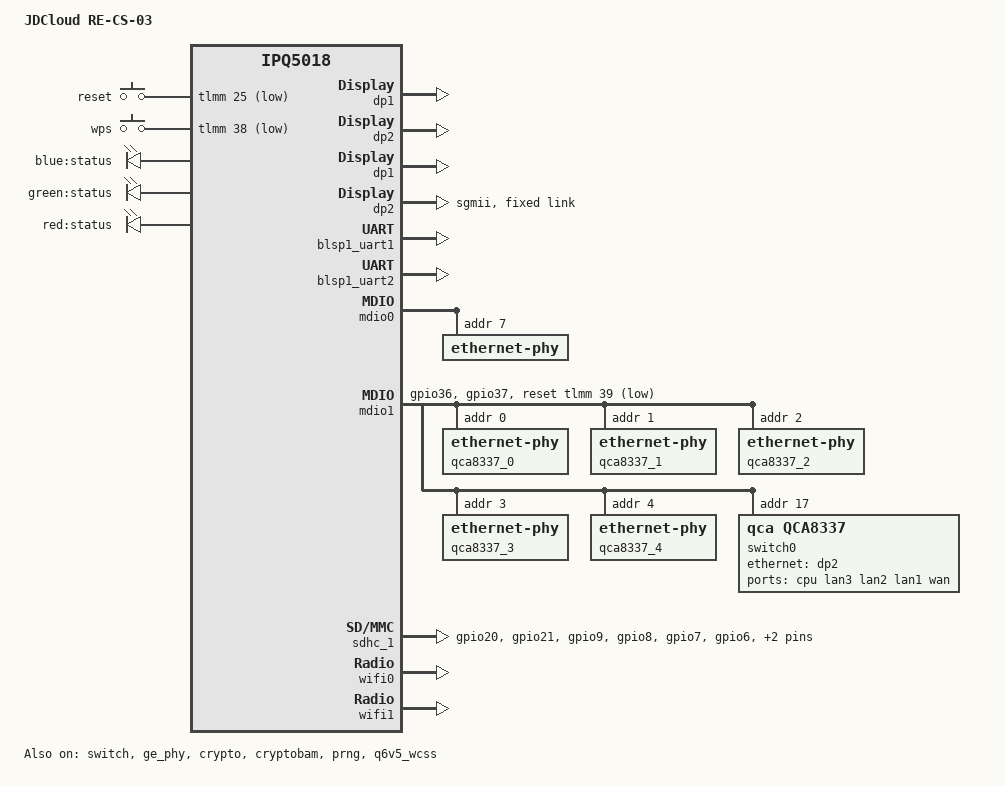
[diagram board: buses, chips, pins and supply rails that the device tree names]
// SPDX-License-Identifier: GPL-2.0-or-later OR MIT

/dts-v1/;

#include "ipq5018.dtsi"
#include "ipq5018-ess.dtsi"

#include <dt-bindings/gpio/gpio.h>
#include <dt-bindings/input/input.h>
#include <dt-bindings/leds/common.h>

/ {
	model = "JDCloud RE-CS-03";
	compatible = "jdcloud,re-cs-03", "qcom,ipq5018";

	interrupt-parent = <&intc>;

	aliases {
		sdhc1 = &sdhc_1;
		serial0 = &blsp1_uart1;
		serial1 = &blsp1_uart2;

		ethernet0 = &dp1;
		ethernet1 = &dp2;
		label-mac-device = &dp2;

		led-boot = &led_status_blue;
		led-failsafe = &led_status_red;
		led-running = &led_status_green;
		led-upgrade = &led_status_red;
	};

	chosen {
		stdout-path = "serial0:115200n8";
	};

	reserved-memory {
		#address-cells = <0x02>;
		#size-cells = <0x02>;
		ranges;

		nss_regions: nss@40000000 {
			no-map;
			reg = <0x00 0x40000000 0x00 0x800000>;
		};

		tz_appps@4a400000 {
			no-map;
			reg = <0x0 0x4a400000 0x0 0x400000>;
		};

		q6_mem_regions: q6_mem_regions@4b000000 {
			no-map;
			reg = <0x0 0x4b000000 0x0 0x3000000>;
		};

		q6_code_data_regions: q6_code_data@4E400000 {
			no-map;
			reg = <0x00 0x4E400000 0x00 0x1400000>;
		};

		q6_ipq5018_data_regions: q6_ipq5018_data@4F800000 {
			no-map;
			reg = <0x00 0x4F800000 0x00 0xd00000>;
		};

		m3_dump_regions: m3_dump@50500000 {
			no-map;
			reg = <0x00 0x50500000 0x00 0x100000>;
		};

		q6_etr_dump_regions: q6_etr_dump@50600000 {
			no-map;
			reg = <0x00 0x50600000 0x00 0x100000>;
		};

		q6_caldb_region: q6_caldb_region@50700000 {
			no-map;
			reg = <0x0 0x50700000 0x0 0x200000>;
		};

		q6_qcn6122_data1_regions: q6_qcn6122_data1@50900000 {
			no-map;
			reg = <0x00 0x50900000 0x00 0xf00000>;
		};

		m3_dump_qcn6122_1_regions: m3_dump_qcn6122_1@51800000 {
			no-map;
			reg = <0x00 0x51800000 0x00 0x100000>;
		};

		q6_qcn6122_etr_1_regions: q6_qcn6122_etr_1@51900000 {
			no-map;
			reg = <0x00 0x51900000 0x00 0x100000>;
		};

		q6_qcn6122_caldb_1_regions: q6_qcn6122_caldb_1@51A00000 {
			no-map;
			reg = <0x0 0x51A00000 0x0 0x500000>;
		};
	};

	soc {
		ess-instance {
			num_devices = <0x2>;

			ess-switch@0x39c00000 {
				compatible = "qcom,ess-switch-ipq50xx";
				reg = <0x39c00000 0x200000>;
				switch_access_mode = "local bus";
				device_id = <0>;
				switch_mac_mode = <MAC_MODE_SGMII_PLUS>;
				cmnblk_clk = "internal_96MHz";

				qcom,port_phyinfo {
					port@0 {
						port_id = <1>;
						phy_address = <7>;
					};
					port@1 {
						port_id = <2>;
						forced-speed = <1000>;
						forced-duplex = <1>;
					};
				};
			};

			ess-switch1@1 {
				compatible = "qcom,ess-switch-qca83xx";
				device_id = <1>;
				switch_access_mode = "mdio";
				mdio-bus = <&mdio1>;
				reset_gpio = <&tlmm 39 GPIO_ACTIVE_LOW>;
				switch_cpu_bmp = <0x40>;
				switch_lan_bmp = <0x1e>;
				switch_wan_bmp = <0x00>;
				qca,ar8327-initvals = <0x04 0x7600000 0x08 0x1000000 0x0c 0x80 0x10 0x2613a0 0xe4 0xaa545 0xe0 0xc74164de 0x7c 0x4e 0x94 0x4e>;

				qcom,port_phyinfo {
					port@0 {
						port_id = <1>;
						phy_address = <0>;
					};
					port@1 {
						port_id = <2>;
						phy_address = <1>;
					};
					port@2 {
						port_id = <3>;
						phy_address = <2>;
					};
					port@3 {
						port_id = <4>;
						phy_address = <3>;
					};
				};
			};
		};

		dp1 {
			status = "okay";
		};

		dp2 {
			status = "okay";
		};
	};

	keys {
		compatible = "gpio-keys";

		reset {
			label = "reset";
			linux,code = <KEY_RESTART>;
			gpios = <&tlmm 25 GPIO_ACTIVE_LOW>;
			linux,input-type = <1>;
			debounce-interval = <60>;
		};

		wps {
			label = "wps";
			linux,code = <KEY_WPS_BUTTON>;
			gpios = <&tlmm 38 GPIO_ACTIVE_LOW>;
			linux,input-type = <1>;
			debounce-interval = <60>;
		};
	};

	leds {
		compatible = "gpio-leds";
		pinctrl-0 = <&leds_pins>;
		pinctrl-names = "default";

		led_status_blue: status-blue {
			label = "blue:status";
			gpio = <&tlmm 31 GPIO_ACTIVE_HIGH>;
		};

		led_status_green: status-green {
			label = "green:status";
			gpio = <&tlmm 32 GPIO_ACTIVE_HIGH>;
		};

		led_status_red: status-red {
			label = "red:status";
			gpio = <&tlmm 33 GPIO_ACTIVE_HIGH>;
		};
	};
};

&switch {
	status = "okay";
	switch_mac_mode = <MAC_MODE_SGMII_PLUS>;
	qcom,port_phyinfo {
		// MAC0 -> GE Phy -> QCA8337 Phy2
		port@0 {
			port_id = <1>;
			mdiobus = <&mdio0>;
			phy_address = <7>;
			phy_dac = <0x10 0x10>;
			// status = "disabled";
		};
		// MAC1 ---SGMII---> QCA8337 SerDes
		port@1 {
			port_id = <2>;
			forced-speed = <1000>;
			forced-duplex = <1>;
		};
	};
};

// MAC0 -> GE Phy
&dp1 {
	status = "okay";
};

// MAC1 ---SGMII---> QCA8337 SerDes
&dp2 {
	status = "okay";
	phy-mode = "sgmii";
	fixed-link {
		speed = <1000>;
		full-duplex;
	};
};

// IPQ5018 GE Phy -> QCA8337 Phy1
&ge_phy {
	status = "okay";
};

&blsp1_uart1 {
	status = "okay";
};

&blsp1_uart2 {
	status = "okay";
};

&crypto {
	status = "okay";
};

&cryptobam {
	status = "okay";
};

&prng {
	status = "okay";
};

&mdio0 {
	status = "okay";

	ethernet-phy@0 {
		reg = <7>;
	};
};

&mdio1 {
	status = "okay";
	pinctrl-0 = <&mdio1_pins>;
	pinctrl-names = "default";
	reset-gpios = <&tlmm 39 GPIO_ACTIVE_LOW>;
	// QCA8337 Phy0 -> LAN3
	qca8337_0: ethernet-phy@0 {
		reg = <0>;
	};
	// QCA8337 Phy1 -> LAN2
	qca8337_1: ethernet-phy@1 {
		reg = <1>;
	};
	// QCA8337 Phy3 -> LAN1
	qca8337_2: ethernet-phy@2 {
		reg = <2>;
	};
	// QCA8337 Phy2 -> IPQ5018 GE Phy
	qca8337_3: ethernet-phy@3 {
		reg = <3>;
	};
	// QCA8337 Phy2 -> IPQ5018 GE Phy
	qca8337_4: ethernet-phy@4 {
		reg = <4>;
	};

	// QCA8337 switch
	switch0: ethernet-switch@17 {
		compatible = "qca,qca8337";
		reg = <17>;
		#address-cells = <1>;
		#size-cells = <0>;
		switch_cpu_bmp = <0x40>;  /* cpu port bitmap */
		switch_lan_bmp = <0x1e>; /* lan port bitmap */
		switch_wan_bmp = <0x0>;  /* wan port bitmap */
		ports {
			#address-cells = <1>;
			#size-cells = <0>;

			switch0cpu: port@0 {
				reg = <0>;
				label = "cpu";
				phy-mode = "sgmii";
				ethernet = <&dp2>;
				qca,sgmii-enable-pll;
				fixed-link {
					speed = <1000>;
					full-duplex;
				};
			};
			// QCA8337 Phy1 -> LAN3
			port@1 {
				reg = <1>;
				label = "lan3";
				phy-handle = <&qca8337_0>;
				port_id = <1>;
				phy_address = <0>;
			};

			// QCA8337 Phy2 -> LAN2
			port@2 {
				reg = <2>;
				label = "lan2";
				phy-handle = <&qca8337_1>;
				port_id = <2>;
				phy_address = <1>;
			};
			
			// QCA8337 Phy3 -> LAN1
			port@3 {
				reg = <3>;
				label = "lan1";
				phy-handle = <&qca8337_2>;
				port_id = <3>;
				phy_address = <2>;

			};

			// QCA8337 Phy4 -> WAN
			port@4 {
				reg = <4>;
				label = "wan";
				phy-handle = <&qca8337_3>;
				port_id = <4>;
				phy_address = <3>;

			};
		};
	};
};

&q6v5_wcss {
	status = "okay";

	compatible = "qcom,ipq5018-q6-mpd";
	firmware = "IPQ5018/q6_fw.mdt";

	reg = <0x0cd00000 0x4040>, <0x1938000 0x8>, <0x193d204 0x4>;
	reg-names = "qdsp6", "tcsr-msip", "tcsr-q6";
	resets = <&gcc GCC_WCSSAON_RESET>, <&gcc GCC_WCSS_Q6_BCR>;
	reset-names = "wcss_aon_reset", "wcss_q6_reset";
	clocks = <&gcc GCC_Q6_AXIS_CLK>, <&gcc GCC_WCSS_ECAHB_CLK>, <&gcc GCC_Q6_AXIM_CLK>, <&gcc GCC_Q6_AXIM2_CLK>, <&gcc GCC_Q6_AHB_CLK>, <&gcc GCC_Q6_AHB_S_CLK>, <&gcc GCC_WCSS_AXI_S_CLK>;
	clock-names = "gcc_q6_axis_clk", "gcc_wcss_ecahb_clk", "gcc_q6_axim_clk", "gcc_q6_axim2_clk", "gcc_q6_ahb_clk", "gcc_q6_ahb_s_clk", "gcc_wcss_axi_s_clk";
	qcom,rproc = <&q6v5_wcss>;
	qcom,bootargs_smem = <507>;
	memory-region = <&q6_mem_regions>, <&q6_etr_dump_regions>, <&q6_caldb_region>;
	boot-args = <0x02 0x04 0x02 0x0f 0x00 0x00>;

	//	boot-args =
//			</*       type: */ 0x1 /* PCIE0 */
//		     /*     length: */ 4
//		     /*      PD id: */ 3
//		     /* reset GPIO: */ 15
//		     /*   reserved: */ 0 0>;

	// IPQ5018
	q6_wcss_pd1: pd-1 {
		firmware-name = "IPQ5018/hw1.0/q6_fw.mdt";
		resets =
			<&gcc GCC_WCSSAON_RESET>,
			<&gcc GCC_WCSS_BCR>,
			<&gcc GCC_CE_BCR>;
		reset-names =
			"wcss_aon_reset",
			"wcss_reset",
			"ce_reset";
		clocks =
			<&gcc GCC_WCSS_AHB_S_CLK>,
			<&gcc GCC_WCSS_ACMT_CLK>,
			<&gcc GCC_WCSS_AXI_M_CLK>;
		clock-names =
			"gcc_wcss_ahb_s_clk",
			"gcc_wcss_acmt_clk",
			"gcc_wcss_axi_m_clk";

		interrupts-extended =
			<&wcss_smp2p_in 8 0>,
			<&wcss_smp2p_in 9 0>,
			<&wcss_smp2p_in 12 0>,
			<&wcss_smp2p_in 11 0>;
		interrupt-names =
			"fatal",
			"ready",
			"spawn-ack",
			"stop-ack";
		qcom,smem-states =
			<&wcss_smp2p_out 8>,
			<&wcss_smp2p_out 9>,
			<&wcss_smp2p_out 10>;
		qcom,smem-state-names =
			"shutdown",
			"stop",
			"spawn";
		status = "okay";
	};

	// QCN6102 5G
	q6_wcss_pd2: pd-2 {
		firmware-name = "IPQ5018/hw1.0/q6_fw.mdt";
		interrupts-extended =
			<&wcss_smp2p_in 24 0>,
			<&wcss_smp2p_in 25 0>,
			<&wcss_smp2p_in 28 0>,
			<&wcss_smp2p_in 27 0>;
		interrupt-names =
			"fatal",
			"ready",
			"spawn-ack",
			"stop-ack";
		qcom,smem-states =
			<&wcss_smp2p_out 24>,
			<&wcss_smp2p_out 25>,
			<&wcss_smp2p_out 26>;
		qcom,smem-state-names =
			"shutdown",
			"stop",
			"spawn";

		status = "okay";
	};

	/delete-property/ mmc-hs400-1_8v;
	mmc-hs200-1_8v;
	mmc-ddr-1_8v;
};

&tlmm {
	button_pins: button-pins {
		mux {
			pins = "gpio25", "gpio38";
			function = "gpio";
			drive-strength = <8>;
			bias-pull-up;
		};
	};

	leds_pins: leds-pins {
		mux {
			pins = "gpio31", "gpio32", "gpio33";
			function = "gpio";
			drive-strength = <8>;
			bias-pull-down;
			output-low;
		};
	};

	mdio1_pins: mdio1-pins {
		mdio1_mdc {
			pins = "gpio36";
			function = "mdc";
			drive-strength = <8>;
			bias-pull-up;
		};

		mdio1_mdio {
			pins = "gpio37";
			function = "mdio";
			drive-strength = <8>;
			bias-pull-up;
		};
	};

	emmc_pins: emmc-pins {

		blsp_uart0_pins: blsp_uart0_pins {
			pins =
				"gpio20", // RX
				"gpio21"; // TX
			function = "blsp0_uart0";
			drive-strength = <8>;
			bias-disable;
		};

		emmc_clk {
			pins = "gpio9";
			function = "sdc1_clk";
			drive-strength = <8>;
			bias-disable;
		};

		emmc_cmd {
			pins = "gpio8";
			function = "sdc1_cmd";
			drive-strength = <8>;
			bias-pull-up;
		};

		emmc_data_0 {
			pins = "gpio7";
			function = "sdc10";
			drive-strength = <0x08>;
			bias-disable;
		};

		emmc_data_1 {
			pins = "gpio6";
			function = "sdc11";
			drive-strength = <0x08>;
			bias-disable;
		};

		emmc_data_2 {
			pins = "gpio5";
			function = "sdc12";
			drive-strength = <0x08>;
			bias-disable;
		};

		emmc_data_3 {
			pins = "gpio4";
			function = "sdc13";
			drive-strength = <0x08>;
			bias-disable;
		};
	};
};

&sdhc_1 {
	status = "okay";

	pinctrl-0 = <&emmc_pins>;
	pinctrl-names = "default";
};

&wifi0 {
	status = "okay";

	qcom,multipd_arch;
	qcom,userpd-subsys-name = "q6v5_wcss_userpd1";
	qcom,rproc = <&q6_wcss_pd1>;
	qcom,bdf-addr = <0x0 0x4C000000 0x4C000000 0x0 0x0>;
	qcom,caldb-addr = <0x0 0x4D000000 0 0 0>;
	qcom,caldb-size = <0x200000>;
	mem-region = <&q6_ipq5018_data_regions>;
	qcom,ath11k-calibration-variant = "JDC-RE-CS-03";
	qcom,ath11k-fw-memory-mode = <1>;
};

&wifi1 {
	status = "okay";

	qcom,multipd_arch;
	qcom,userpd-subsys-name = "q6v5_wcss_userpd2";
	qcom,rproc = <&q6_wcss_pd2>;
	qcom,bdf-addr = <0x0 0x4D200000 0x4CF00000 0x0 0x0>;
	qcom,caldb-addr = <0x0 0x4E400000 0 0 0>;
	qcom,caldb-size = <0x500000>;
	mem-region = <&q6_qcn6122_data1_regions>;
	qcom,ath11k-calibration-variant = "JDC-RE-CS-03";
	qcom,ath11k-fw-memory-mode = <1>;
};
